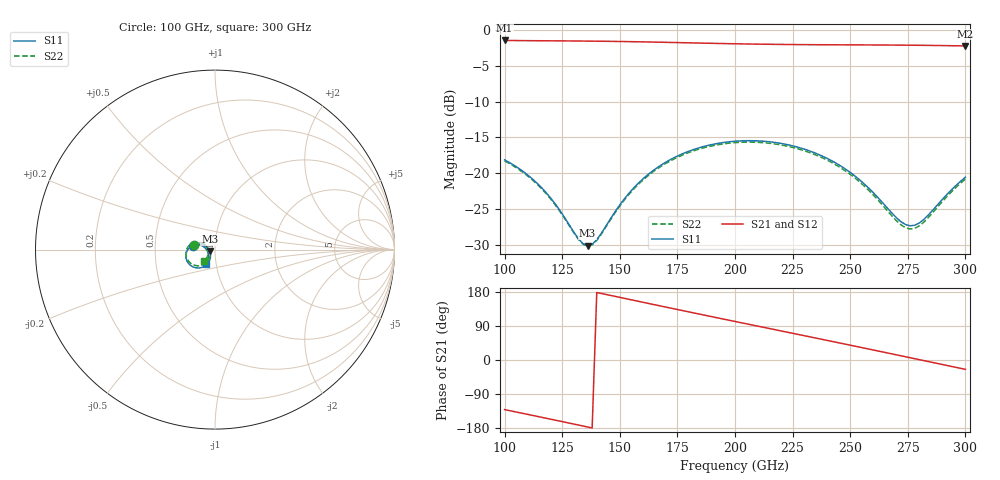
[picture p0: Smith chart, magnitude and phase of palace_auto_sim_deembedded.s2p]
! Created with skrf 1.11.0 (http://scikit-rf.org).
# GHz S DB R 50.0
!freq dBS11 angS11 dBS21 angS21 dBS12 angS12 dBS22 angS22
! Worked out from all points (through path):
!   101 points, 100 GHz to 300 GHz, reference 50 ohm
!   highest |S21| = -1.46 dB at 100 GHz (marker M1); lowest = -2.2 dB at 300 GHz (marker M2)
!   group delay of S21, straight-line fit = 3.52 ps
!   lowest |S11| = -30.2 dB at 136 GHz (marker M3), VSWR 1.06, Z = 47.1 - j0.977 ohm
!   |S11| at or under -10 dB: start of sweep to end of sweep
!   |S22| runs from -30.2 to -15.7 dB; largest |S21 - S12| = 9.5e-14
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100  -18.16 170.2  -1.46 -130.9  -1.46 -130.9  -18.30 167.0
108  -19.77 163.2  -1.48 -141.0  -1.48 -141.0  -19.91 159.7
116  -22.03 158.7  -1.50 -151.1  -1.50 -151.1  -22.17 155.0
126  -26.20 162.5  -1.52 -163.9  -1.52 -163.9  -26.32 158.5
134  -29.86 -171.6  -1.54 -174.1  -1.54 -174.1  -29.93 -176.0
136  -30.16 -160.5  -1.55 -176.7  -1.55 -176.7  -30.22 -165.2
140  -29.32 -139.3  -1.56 178.1  -1.56 178.1  -29.41 -144.4
152  -23.60 -116.7  -1.61 162.7  -1.61 162.7  -23.75 -122.2
160  -20.83 -118.2  -1.66 152.4  -1.66 152.4  -20.99 -123.9
168  -18.87 -123.5  -1.71 142.2  -1.71 142.2  -19.04 -129.4
184  -16.51 -137.9  -1.82 121.8  -1.82 121.8  -16.69 -144.3
200  -15.55 -153.7  -1.92 101.7  -1.92 101.7  -15.74 -160.7
216  -15.66 -169.4  -2.00 81.7  -2.00 81.7  -15.87 -177.0
234  -17.10 174.5  -2.05 59.2  -2.05 59.2  -17.33 166.1
244  -18.64 167.2  -2.07 46.7  -2.07 46.7  -18.89 158.5
252  -20.40 163.6  -2.08 36.6  -2.08 36.6  -20.67 154.4
268  -25.56 173.3  -2.10 16.2  -2.10 16.2  -25.95 163.6
274  -27.20 -169.3  -2.12 8.6  -2.12 8.6  -27.65 -178.7
278  -27.30 -154.1  -2.13 3.5  -2.13 3.5  -27.73 -163.2
282  -26.47 -140.7  -2.14 -1.6  -2.14 -1.6  -26.85 -149.6
288  -24.40 -128.4  -2.16 -9.3  -2.16 -9.3  -24.71 -137.5
300  -20.58 -123.5  -2.22 -24.6  -2.22 -24.6  -20.84 -133.4
